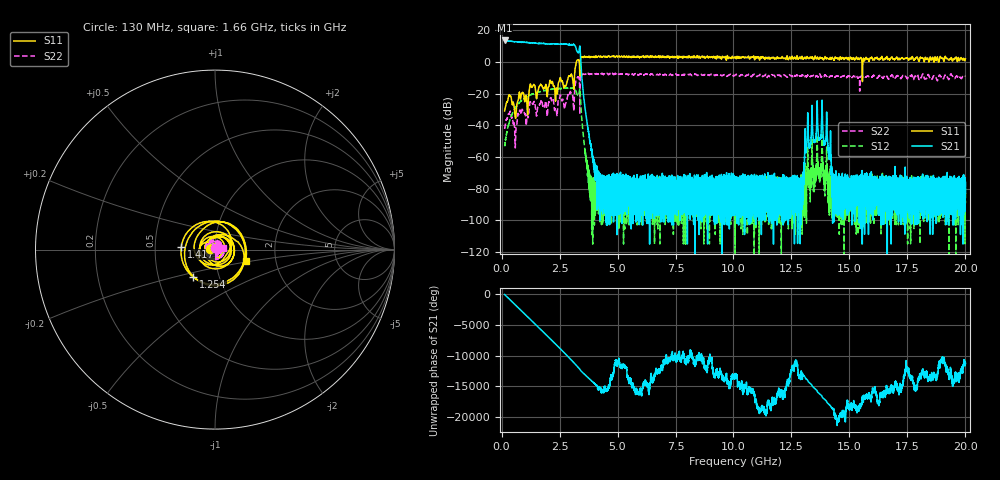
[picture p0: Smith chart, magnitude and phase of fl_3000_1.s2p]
!Created with skrf (http://scikit-rf.org).
# GHz S RI R 50.0
!freq ReS11 ImS11 ReS21 ImS21 ReS12 ImS12 ReS22 ImS22
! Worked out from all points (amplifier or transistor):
!   20013 points, 130 MHz to 20 GHz, reference 50 ohm
!   highest |S21| = 13.6 dB at 130 MHz (marker M1)
!   |S21| within 3 dB of that: start of sweep to 3.148 GHz
!   unconditionally stable (mu >= 1): start of sweep to 3.174 GHz; 3.363 GHz to 3.383 GHz; 15.54169 GHz to 15.58167 GHz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
!   at 3.465 GHz: K = -100.28, MSG = 13.3 dB, |S12| = -37.4 dB
!   at 10.14 GHz: K = -19477754.94, MSG = -0.3 dB, |S12| = -77.2 dB
!   at 20 GHz: K = -28290635.11, MSG = 1.6 dB, |S12| = -82.1 dB
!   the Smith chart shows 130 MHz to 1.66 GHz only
!   S11 on the Smith chart (normalised r, x): 130 MHz: 0.95, +0.01; 1.254 GHz: 0.75, -0.24; 1.417 GHz: 0.68, +0.02; 1.66 GHz: 1.40, -0.19
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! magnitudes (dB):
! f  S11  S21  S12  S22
! 130 MHz  -31.0  13.6  -53.3  -42.4
! 356 MHz  -21.4  13.1  -36.9  -31.5
! 530 MHz  -27.2  12.7  -30.7  -37.8
! 1.254 GHz  -14.3  12.0  -20.8  -25.7
! 1.417 GHz  -14.5  12.0  -19.9  -25.3
! 1.66 GHz  -14.8  11.7  -18.8  -26.6
! 2.341 GHz  -19.9  11.4  -16.9  -29.6
! 3.103 GHz  -15.5  11.0  -16.3  -29.2
! 3.321 GHz  1.4  5.8  -21.2  -9.7
! 3.442 GHz  3.1  -6.0  -33.1  -8.4
! 3.802 GHz  2.9  -49.8  -78.4  -7.8
! 4.219 GHz  3.1  -73.6  -78.3  -7.5
! 6.754 GHz  3.2  -79.5  -81.9  -8.2
! 10.06 GHz  3.1  -83.5  -76.7  -8.4
! 12.89 GHz  2.4  -77.0  -82.6  -8.8
! 13.16 GHz  3.0  -53.8  -76.0  -9.3
! 13.38 GHz  2.8  -34.9  -56.3  -9.0
! 13.79 GHz  2.2  -42.5  -64.7  -9.5
! 14.09 GHz  2.1  -55.2  -78.4  -9.1
! 14.38 GHz  3.1  -78.7  -80.6  -9.6
! 16.69 GHz  2.0  -76.1  -76.8  -10.8
! 20 GHz  2.0  -79.0  -82.1  -8.8
